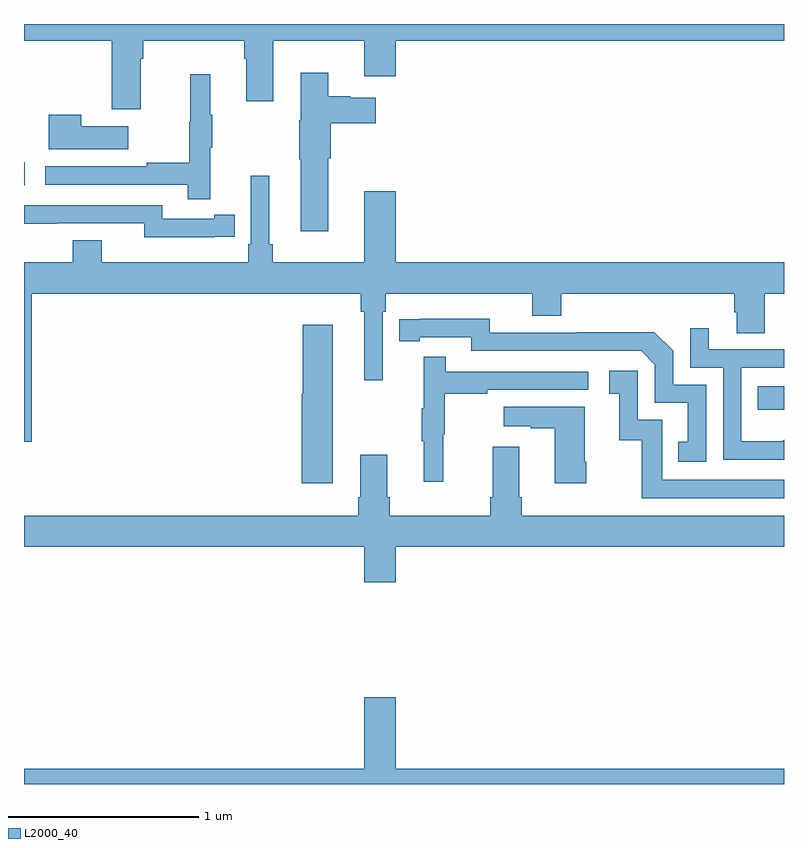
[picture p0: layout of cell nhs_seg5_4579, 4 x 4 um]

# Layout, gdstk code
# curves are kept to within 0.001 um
import gdstk
lib = gdstk.Library(unit=1e-6, precision=1e-09)
def R(c, l, rs):  # rectangles x0, y0, x1, y1
    for r in rs: c.add(gdstk.rectangle(r[:2], r[2:], *l))
def P(c, l, *ps):  # polygons
    for p in ps: c.add(gdstk.Polygon(p, *l))
L2000_40 = (2000, 40)

nhs_seg5_4579 = lib.new_cell('nhs_seg5_4579')
R(nhs_seg5_4579, L2000_40, [(382.861,902.769,383,902.892), (379,903.951,379.003,904.071)])
P(nhs_seg5_4579, L2000_40, [(379.615,904.616),(379.628,904.616),(379.628,904.712),(380.159,904.712),(380.159,904.616),(380.171,904.616),(380.171,904.392),(380.311,904.392),(380.311,904.712),(380.792,904.712),(380.792,904.524),(380.956,904.524),(380.956,904.712),(383,904.712),(383,904.799),(379,904.799),(379,904.712),(379.463,904.712),(379.463,904.35),(379.615,904.35)],
  [(380.602,904.093),(380.615,904.093),(380.615,904.277),(380.851,904.277),(380.851,904.411),(380.718,904.411),(380.718,904.419),(380.602,904.419),(380.602,904.543),(380.456,904.543),(380.456,904.293),(380.449,904.293),(380.449,904.087),(380.456,904.087),(380.456,903.708),(380.602,903.708)],
  [(379.979,904.147),(379.99,904.147),(379.99,904.321),(379.979,904.321),(379.979,904.534),(379.876,904.534),(379.876,904.284),(379.869,904.284),(379.869,904.07),(379.645,904.07),(379.645,904.05),(379.113,904.05),(379.113,903.954),(379.861,903.954),(379.861,903.876),(379.979,903.876)],
  [(379.549,904.261),(379.301,904.261),(379.301,904.321),(379.13,904.321),(379.13,904.139),(379.549,904.139)],
  [(379.04,903.38),(380.773,903.38),(380.773,903.284),(380.792,903.284),(380.792,902.925),(380.889,902.925),(380.889,903.284),(380.903,903.284),(380.903,903.38),(381.674,903.38),(381.674,903.263),(381.827,903.263),(381.827,903.38),(382.739,903.38),(382.739,903.282),(382.751,903.282),(382.751,903.172),(382.899,903.172),(382.899,903.38),(383,903.38),(383,903.544),(380.956,903.544),(380.956,903.919),(380.792,903.919),(380.792,903.544),(380.309,903.544),(380.309,903.64),(380.29,903.64),(380.29,904),(380.193,904),(380.193,903.64),(380.18,903.64),(380.18,903.544),(379.408,903.544),(379.408,903.661),(379.256,903.661),(379.256,903.544),(379,903.544),(379,902.601),(379.04,902.601)],
  [(380,903.678),(380.108,903.678),(380.108,903.794),(380,903.794),(380,903.774),(379.728,903.774),(379.728,903.846),(379,903.846),(379,903.749),(379.172,903.749),(379.172,903.75),(379.632,903.75),(379.632,903.677),(380,903.677)],
  [(382.59,902.901),(382.416,902.901),(382.416,903.078),(382.318,903.176),(381.91,903.176),(381.91,903.174),(381.45,903.174),(381.45,903.247),(380.974,903.246),(380.974,903.13),(381.082,903.13),(381.082,903.15),(381.354,903.15),(381.354,903.078),(382.248,903.078),(382.32,903.006),(382.32,902.805),(382.493,902.805),(382.493,902.601),(382.444,902.601),(382.444,902.496),(382.59,902.496)],
  [(380.626,903.217),(380.468,903.217),(380.468,902.853),(380.462,902.853),(380.462,902.382),(380.626,902.382)],
  [(383,902.612),(382.99,902.602),(382.776,902.602),(382.776,902.991),(383,902.991),(383,903.087),(382.603,903.087),(382.603,903.199),(382.506,903.199),(382.506,902.991),(382.68,902.991),(382.68,902.505),(383,902.505)],
  [(381.206,902.64),(381.214,902.64),(381.214,902.854),(381.437,902.854),(381.437,902.874),(381.97,902.874),(381.97,902.97),(381.221,902.97),(381.221,903.049),(381.104,903.049),(381.104,902.777),(381.093,902.777),(381.093,902.603),(381.104,902.603),(381.104,902.391),(381.206,902.391)],
  [(383,902.4),(382.359,902.4),(382.359,902.715),(382.23,902.715),(382.23,902.974),(382.08,902.974),(382.08,902.853),(382.133,902.853),(382.133,902.607),(382.251,902.607),(382.251,902.304),(383,902.304)],
  [(381.96,902.494),(381.952,902.494),(381.952,902.785),(381.525,902.785),(381.525,902.681),(381.668,902.681),(381.668,902.671),(381.794,902.671),(381.794,902.382),(381.96,902.382)],
  [(380.956,902.048),(383,902.048),(383,902.212),(381.62,902.212),(381.62,902.308),(381.607,902.308),(381.607,902.575),(381.467,902.575),(381.467,902.308),(381.455,902.308),(381.455,902.212),(380.924,902.212),(380.924,902.308),(380.911,902.308),(380.911,902.533),(380.771,902.533),(380.771,902.308),(380.759,902.308),(380.759,902.212),(379,902.212),(379,902.048),(380.792,902.048),(380.792,901.86),(380.956,901.86)],
  [(383,900.88),(380.956,900.88),(380.956,901.255),(380.792,901.255),(380.792,900.88),(379,900.88),(379,900.799),(383,900.799)])

lib.write_gds('nhs_seg5_4579.gds')
